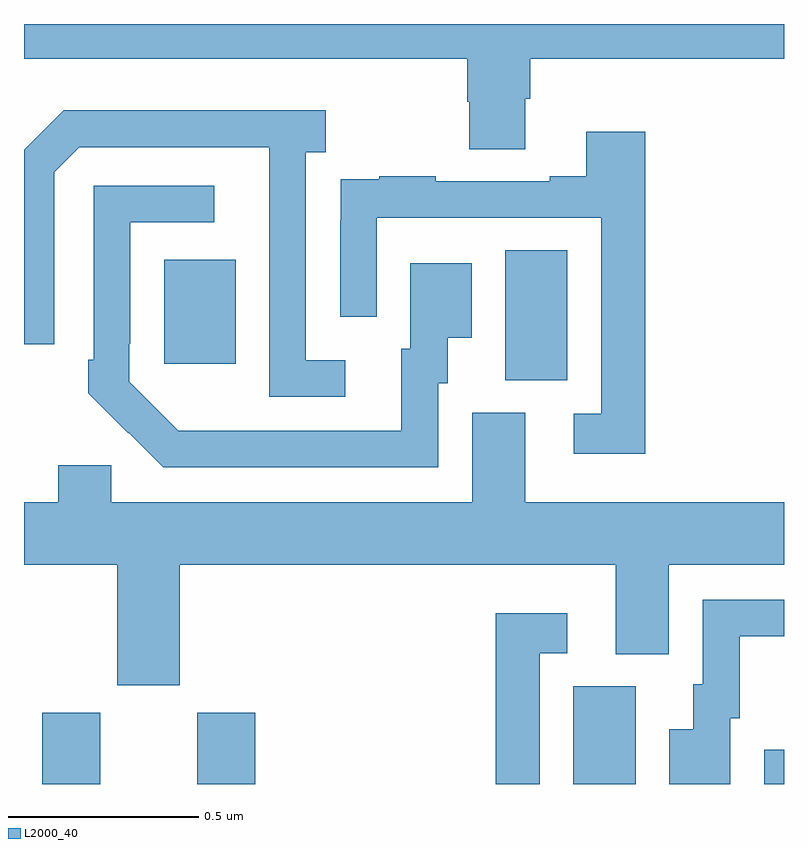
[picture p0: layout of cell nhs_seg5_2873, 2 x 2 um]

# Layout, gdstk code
import gdstk
lib = gdstk.Library(unit=1e-6, precision=1e-09)
def R(c, l, rs):  # rectangles x0, y0, x1, y1
    for r in rs: c.add(gdstk.rectangle(r[:2], r[2:], *l))
def P(c, l, *ps):  # polygons
    for p in ps: c.add(gdstk.Polygon(p, *l))
L2000_40 = (2000, 40)

nhs_seg5_2873 = lib.new_cell('nhs_seg5_2873')
R(nhs_seg5_2873, L2000_40, [(149.048,906.799,149.2,906.987), (149.456,906.799,149.609,906.987), (150.446,906.799,150.61,907.056), (150.948,906.799,151,906.889), (150.266,907.861,150.43,908.204), (149.369,907.905,149.557,908.179)])
P(nhs_seg5_2873, L2000_40, [(150.319,908.602),(150.332,908.602),(150.332,908.708),(151,908.708),(151,908.799),(149,908.799),(149,908.708),(150.167,908.708),(150.167,908.595),(150.172,908.595),(150.172,908.47),(150.319,908.47)],
  [(149.845,907.914),(149.742,907.914),(149.742,908.462),(149.794,908.462),(149.794,908.572),(149.104,908.572),(149,908.468),(149,907.956),(149.079,907.956),(149.079,908.409),(149.145,908.475),(149.645,908.475),(149.645,908.275),(149.646,908.275),(149.646,907.818),(149.845,907.818)],
  [(150.635,908.515),(150.479,908.515),(150.479,908.398),(150.383,908.398),(150.383,908.385),(150.083,908.385),(150.083,908.398),(149.935,908.398),(149.935,908.391),(149.833,908.391),(149.833,908.282),(149.832,908.282),(149.832,908.028),(149.928,908.028),(149.928,908.289),(150.519,908.289),(150.519,907.773),(150.447,907.773),(150.447,907.668),(150.635,907.668)],
  [(150.09,907.854),(150.115,907.854),(150.115,907.973),(150.178,907.973),(150.178,908.17),(150.017,908.17),(150.017,907.944),(149.993,907.944),(149.993,907.728),(149.509,907.728),(149.509,907.729),(149.406,907.729),(149.277,907.857),(149.277,907.957),(149.28,907.957),(149.28,908.277),(149.5,908.277),(149.5,908.373),(149.184,908.373),(149.184,907.915),(149.169,907.915),(149.169,907.827),(149.274,907.722),(149.275,907.723),(149.366,907.632),(150.09,907.632)],
  [(149.41,907.376),(150.557,907.376),(150.557,907.141),(150.697,907.141),(150.697,907.376),(151,907.376),(151,907.54),(150.319,907.54),(150.319,907.776),(150.179,907.776),(150.179,907.54),(149.229,907.54),(149.229,907.638),(149.09,907.638),(149.09,907.54),(149,907.54),(149,907.376),(149.246,907.376),(149.246,907.059),(149.41,907.059)],
  [(150.859,906.972),(150.883,906.972),(150.883,907.188),(151,907.188),(151,907.284),(150.786,907.284),(150.786,907.062),(150.761,907.062),(150.761,906.943),(150.698,906.943),(150.698,906.799),(150.859,906.799)],
  [(150.357,907.143),(150.43,907.143),(150.43,907.249),(150.241,907.249),(150.241,906.799),(150.357,906.799)])

lib.write_gds('nhs_seg5_2873.gds')
